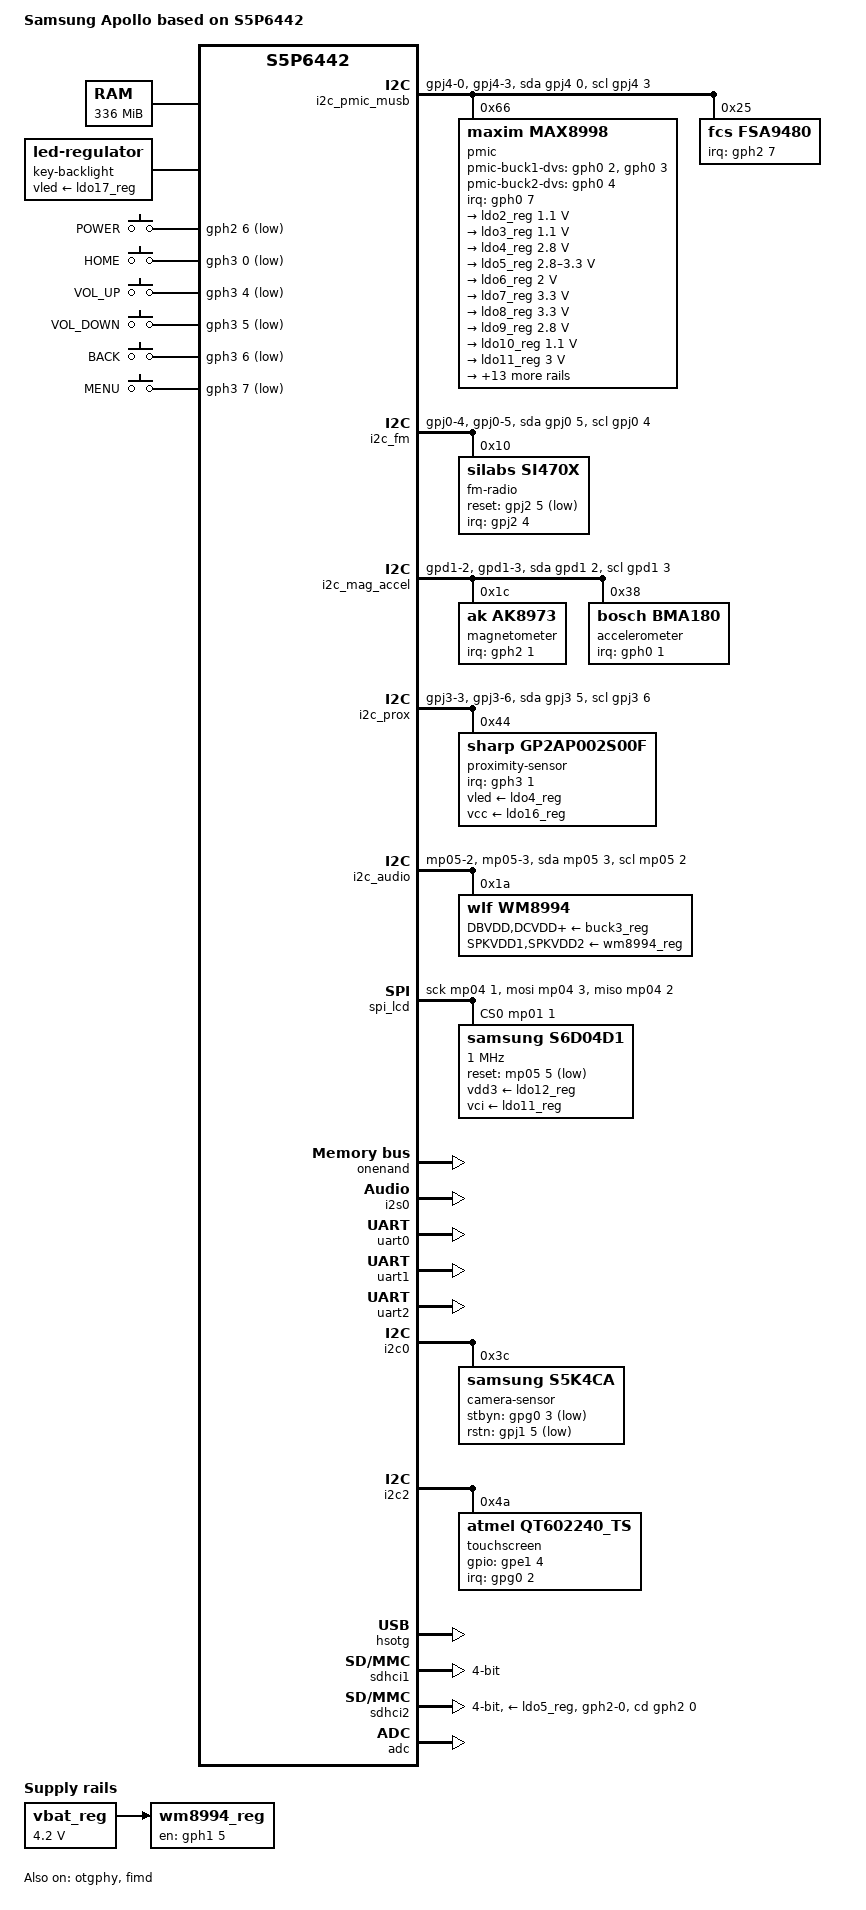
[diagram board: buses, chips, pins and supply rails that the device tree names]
/*
 * Samsung's S5P6442 SoC device tree source
 *
 * Samsung's S5P6442 SoC device nodes are listed in this file. S5P6442
 * based board files can include this file and provide values for board specfic
 * bindings.
 *
 * Note: This file does not include device nodes for all the controllers in
 * S5P6442 SoC. As device tree coverage for S5P6442 increases, additional
 * nodes can be added to this file.
 *
 * This program is free software; you can redistribute it and/or modify
 * it under the terms of the GNU General Public License version 2 as
 * published by the Free Software Foundation.
 */

/dts-v1/;
#include <dt-bindings/gpio/gpio.h>
#include <dt-bindings/input/input.h>
#include "s5p6442.dtsi"

/ {
	model = "Samsung Apollo based on S5P6442";
	compatible = "samsung,apollo", "samsung,s5p6442";

	aliases {
		i2c3 = &i2c_pmic_musb;
		i2c4 = &i2c_fm;
		i2c5 = &i2c_mag_accel;
		i2c6 = &i2c_prox;
		i2c7 = &i2c_audio;
	};

	chosen {
		bootargs = "console=ttySAC1,115200n8 console=tty1 root=/dev/mmcblk0p1 rw rootwait ignore_loglevel earlyprintk g_ether.dev_addr=02:01:02:03:04:05 g_ether.host_addr=06:07:08:09:0a:0b";
	};

	memory {
		device_type = "memory";
		reg = <0x20000000 0x10000000
			0x40000000 0x5000000>;
	};

	vbat_reg: vbat-regulator {
		compatible = "regulator-fixed";
		regulator-name = "V_BAT";
		regulator-min-microvolt = <4200000>;
		regulator-max-microvolt = <4200000>;
		regulator-always-on;
	};

	i2c_pmic_musb: i2c-3 {
		compatible = "i2c-gpio";
		gpios = /* SDA */ <&gpj4 0 0>,
			/* SCL */ <&gpj4 3 0>;
		i2c-gpio,delay-us = <2>;
		pinctrl-names = "default";
		pinctrl-0 = <&pmic_musb_i2c_bus>;
		#address-cells = <1>;
		#size-cells = <0>;

		pmic@66 {
			compatible = "maxim,max8998";
			reg = <0x66>;
			interrupt-parent = <&gph0>;
			interrupts = <7 0>;
			pinctrl-names = "default";
			pinctrl-0 = <&pmic_irq>;

			max8998,pmic-buck1-default-dvs-idx = <0>;
			max8998,pmic-buck1-dvs-gpios = <&gph0 2 0>, <&gph0 3 0>;
			max8998,pmic-buck1-dvs-voltage = <1200000>, <1200000>,
							<1200000>, <1200000>;

			max8998,pmic-buck2-default-dvs-idx = <0>;
			max8998,pmic-buck2-dvs-gpio = <&gph0 4 0>;
			max8998,pmic-buck2-dvs-voltage = <1200000>, <1200000>;

			regulators {
				ldo2_reg: LDO2 {
					regulator-name = "VALIVE_1.1V_6442";
					regulator-min-microvolt = <1100000>;
					regulator-max-microvolt = <1100000>;
					regulator-always-on;
				};

				ldo3_reg: LDO3 {
					regulator-name = "VUSB_1.1V_6442";
					regulator-min-microvolt = <1100000>;
					regulator-max-microvolt = <1100000>;
				};

				ldo4_reg: LDO4 {
					regulator-name = "VDD_PS_2.8V";
					regulator-min-microvolt = <2800000>;
					regulator-max-microvolt = <2800000>;
				};

				ldo5_reg: LDO5 {
					regulator-name = "VTF_2.8V";
					regulator-min-microvolt = <2800000>;
					regulator-max-microvolt = <3300000>;
				};

				ldo6_reg: LDO6 {
					regulator-name = "LDO6";
					regulator-min-microvolt = <2000000>;
					regulator-max-microvolt = <2000000>;
				};

				ldo7_reg: LDO7 {
					regulator-name = "VADC_3.3V_6442";
					regulator-min-microvolt = <3300000>;
					regulator-max-microvolt = <3300000>;
				};

				ldo8_reg: LDO8 {
					regulator-name = "VUSB_3.3V_6442";
					regulator-min-microvolt = <3300000>;
					regulator-max-microvolt = <3300000>;
				};

				ldo9_reg: LDO9 {
					regulator-name = "VCC_2.8V_PDA";
					regulator-min-microvolt = <2800000>;
					regulator-max-microvolt = <2800000>;
					regulator-always-on;
				};

				ldo10_reg: LDO10 {
					regulator-name = "VPLL_1.1V_6442";
					regulator-min-microvolt = <1100000>;
					regulator-max-microvolt = <1100000>;
					regulator-always-on;
				};

				ldo11_reg: LDO11 {
					regulator-name = "VLCD_3.0V";
					regulator-min-microvolt = <3000000>;
					regulator-max-microvolt = <3000000>;
					regulator-always-on;
				};

				ldo12_reg: LDO12 {
					regulator-name = "VLCD_1.8V";
					regulator-min-microvolt = <1800000>;
					regulator-max-microvolt = <1800000>;
					regulator-always-on;
				};

				ldo13_reg: LDO13 {
					regulator-name = "VTOUCH_2.8V";
					regulator-min-microvolt = <2800000>;
					regulator-max-microvolt = <2800000>;
				};

				ldo14_reg: LDO14 {
					regulator-name = "VTOUCH_3.0V";
					regulator-min-microvolt = <3000000>;
					regulator-max-microvolt = <3000000>;
				};

				ldo15_reg: LDO15 {
					regulator-name = "VPWM_3.3V";
					regulator-min-microvolt = <3300000>;
					regulator-max-microvolt = <3300000>;
					regulator-always-on;
				};

				ldo16_reg: LDO16 {
					regulator-name = "VDD_PS_3.0V";
					regulator-min-microvolt = <3000000>;
					regulator-max-microvolt = <3000000>;
				};

				ldo17_reg: LDO17 {
					regulator-name = "VKEYLED_3.3V";
					regulator-min-microvolt = <1600000>;
					regulator-max-microvolt = <3300000>;
					regulator-always-on;
				};

				buck1_reg: BUCK1 {
					regulator-name = "VARM_1.1V_6442";
					regulator-min-microvolt = <950000>;
					regulator-max-microvolt = <1350000>;
					regulator-always-on;
				};

				buck2_reg: BUCK2 {
					regulator-name = "VINT_1.1V_6442";
					regulator-min-microvolt = <1200000>;
					regulator-max-microvolt = <1200000>;
					regulator-always-on;
				};

				buck3_reg: BUCK3 {
					regulator-name = "VCC_1.8V_PDA";
					regulator-min-microvolt = <1800000>;
					regulator-max-microvolt = <1800000>;
					regulator-always-on;
				};

				buck4_reg: BUCK4 {
					regulator-name = "BUCK4";
					regulator-min-microvolt = <1200000>;
					regulator-max-microvolt = <1200000>;
				};

				vichg_reg: ENVICHG {
					regulator-name = "VICHG";
				};

				safeout1_reg: ESAFEOUT1 {
					regulator-name = "SAFEOUT1";
					regulator-always-on;
				};

				safeout2_reg: ESAFEOUT2 {
					regulator-name = "SAFEOUT2";
					regulator-boot-on;
				};
			};
		};

		fsa9480: muic@25 {
			compatible = "fcs,fsa9480";
			reg = <0x25>;
			interrupt-parent = <&gph2>;
			interrupts = <7 0>;
			pinctrl-names = "default";
			pinctrl-0 = <&muic_irq>;
		};
	};

	i2c_fm: i2c-4 {
		compatible = "i2c-gpio";
		gpios = /* SDA */ <&gpj0 5 0>,
			/* SCL */ <&gpj0 4 0>;
		i2c-gpio,delay-us = <2>;
		pinctrl-names = "default";
		pinctrl-0 = <&fm_i2c_bus>;
		#address-cells = <1>;
		#size-cells = <0>;

		fm-radio@10 {
			compatible = "silabs,si470x";
			reg = <0x10>;
			interrupt-parent = <&gpj2>;
			interrupts = <4 0>;
			reset-gpios = <&gpj2 5 GPIO_ACTIVE_LOW>;
			pinctrl-names = "default";
			pinctrl-0 = <&fm_irq>;
			// TODO
		};
	};

	i2c_mag_accel: i2c-5 {
		compatible = "i2c-gpio";
		gpios = /* SDA */ <&gpd1 2 0>,
			/* SCL */ <&gpd1 3 0>;
		i2c-gpio,delay-us = <2>;
		pinctrl-names = "default";
		pinctrl-0 = <&mag_accel_i2c_bus>;
		#address-cells = <1>;
		#size-cells = <0>;

		magnetometer@1c {
			compatible = "ak,ak8973";
			reg = <0x1c>;
			interrupt-parent = <&gph2>;
			interrupts = <1 0>;
			pinctrl-names = "default";
			pinctrl-0 = <&mag_irq>;
			// TODO
		};

		accelerometer@38 {
			compatible = "bosch,bma180";
			reg = <0x38>;
			interrupt-parent = <&gph0>;
			interrupts = <1 0>;
			pinctrl-names = "default";
			pinctrl-0 = <&accel_irq>;
			// TODO
		};

	};

	i2c_prox: i2c-6 {
		compatible = "i2c-gpio";
		gpios = /* SDA */ <&gpj3 5 0>,
			/* SCL */ <&gpj3 6 0>;
		i2c-gpio,delay-us = <2>;
		pinctrl-names = "default";
		pinctrl-0 = <&prox_i2c_bus>;
		#address-cells = <1>;
		#size-cells = <0>;

		proximity-sensor@44 {
			compatible = "sharp,gp2ap002s00f";
			reg = <0x44>;
			interrupt-parent = <&gph3>;
			interrupts = <1 0>;
			pinctrl-names = "default";
			pinctrl-0 = <&prox_irq>;
			vled-supply = <&ldo4_reg>;
			vcc-supply = <&ldo16_reg>;
			// TODO
		};
	};

	wm8994_reg: wm8994-regulator {
		compatible = "regulator-fixed";
		regulator-name = "WM8994_LDO";
		gpio = <&gph1 5 0>;
		enable-active-high;
		vin-supply = <&vbat_reg>;
	};

	i2c_audio: i2c-7 {
		compatible = "i2c-gpio";
		gpios = /* SDA */ <&mp05 3 0>,
			/* SCL */ <&mp05 2 0>;
		i2c-gpio,delay-us = <2>;
		pinctrl-names = "default";
		pinctrl-0 = <&audio_i2c_bus>;
		#address-cells = <1>;
		#size-cells = <0>;

		wm8994: audio-codec@1a {
			compatible = "wlf,wm8994";
			reg = <0x1a>;
			clock-names = "MCLK1";
			clocks = <&clocks MOUT_CLKOUT>;
			DBVDD-supply = <&buck3_reg>;
			DCVDD-supply = <&buck3_reg>;
			AVDD1-supply = <&buck3_reg>;
			AVDD2-supply = <&buck3_reg>;
			CPVDD-supply = <&buck3_reg>;
			SPKVDD1-supply = <&wm8994_reg>;
			SPKVDD2-supply = <&wm8994_reg>;
			gpio-controller;
			#gpio-cells = <2>;
			#sound-dai-cells = <1>;
		};
	};

	key-backlight {
		compatible = "led-regulator";
		vled-supply = <&ldo17_reg>;
		// TODO
	};

	gpio-keys {
		compatible = "gpio-keys";
		pinctrl-names = "default";
		pinctrl-0 = <&gpio_keys>;
		#address-cells = <1>;
		#size-cells = <0>;
		autorepeat;

		key@0 {
			reg = <0>;
			label = "POWER";
			gpios = <&gph2 6 GPIO_ACTIVE_LOW>;
			linux,code = <KEY_POWER>;
			debounce-interval = <20>;
		};

		key@1 {
			reg = <1>;
			label = "HOME";
			gpios = <&gph3 0 GPIO_ACTIVE_LOW>;
			linux,code = <KEY_HOME>;
			debounce-interval = <20>;
		};

		key@2 {
			reg = <2>;
			label = "VOL_UP";
			gpios = <&gph3 4 GPIO_ACTIVE_LOW>;
			linux,code = <KEY_VOLUMEUP>;
			debounce-interval = <20>;
		};

		key@3 {
			reg = <3>;
			label = "VOL_DOWN";
			gpios = <&gph3 5 GPIO_ACTIVE_LOW>;
			linux,code = <KEY_VOLUMEDOWN>;
			debounce-interval = <20>;
		};

		key@4 {
			reg = <4>;
			label = "BACK";
			gpios = <&gph3 6 GPIO_ACTIVE_LOW>;
			linux,code = <KEY_BACK>;
			debounce-interval = <20>;
		};

		key@5 {
			reg = <5>;
			label = "MENU";
			gpios = <&gph3 7 GPIO_ACTIVE_LOW>;
			linux,code = <KEY_MENU>;
			debounce-interval = <20>;
		};
	};

	sound {
		compatible = "simple-audio-card";
		simple-audio-card,format = "i2s";

		simple-audio-card,cpu {
			sound-dai = <&i2s0>;
		};

		simple-audio-card,codec {
			sound-dai = <&wm8994 0>;
			bitclock-master;
			frame-master;
		};
	};

	spi_lcd: spi-1 {
		compatible = "spi-gpio";
		#address-cells = <1>;
		#size-cells = <0>;

		gpio-sck = <&mp04 1 0>;
		gpio-miso = <&mp04 2 0>;
		gpio-mosi = <&mp04 3 0>;
		cs-gpios = <&mp01 1 0>;
		num-chipselects = <1>;

		s6d04d1: display@0 {
			compatible = "samsung,s6d04d1";
			reg = <0>;
			reset-gpios = <&mp05 5 1>;
			vdd3-supply = <&ldo12_reg>;
			vci-supply = <&ldo11_reg>;
			spi-max-frequency = <1000000>;
		};
	};
};

&xusbxti {
	clock-frequency = <12000000>;
};

&onenand {
	status = "okay";

	partition@1180000 {
		label = "UBI";
		reg = <0x1180000 0x1e380000>;
	};
};

&i2s0 {
	status = "okay";
};

&pinctrl0 {
	gpio_keys: gpio-keys {
		samsung,pins = "gph2-6", "gph3-0", "gph3-4", "gph3-5",
				"gph3-6", "gph3-7";
		samsung,pin-pud = <PIN_PULL_NONE>;
	};

	pmic_musb_i2c_bus: pmic-musb-i2c-bus {
		samsung,pins = "gpj4-0", "gpj4-3";
		samsung,pin-pud = <PIN_PULL_NONE>;
	};

	fm_i2c_bus: fm-musb-i2c-bus {
		samsung,pins = "gpj0-4", "gpj0-5";
		samsung,pin-pud = <PIN_PULL_NONE>;
	};

	mag_accel_i2c_bus: mag-accel-i2c-bus {
		samsung,pins = "gpd1-2", "gpd1-3";
		samsung,pin-pud = <PIN_PULL_NONE>;
	};

	prox_i2c_bus: prox-i2c-bus {
		samsung,pins = "gpj3-3", "gpj3-6";
		samsung,pin-pud = <PIN_PULL_NONE>;
	};

	audio_i2c_bus: audio-i2c-bus {
		samsung,pins = "mp05-2", "mp05-3";
		samsung,pin-pud = <PIN_PULL_NONE>;
	};

	pmic_irq: pmic-irq {
		samsung,pins = "gph0-7";
		samsung,pin-function = <0>;
		samsung,pin-pud = <PIN_PULL_NONE>;
	};

	fm_irq: fm-irq {
		samsung,pins = "gpj2-4";
		samsung,pin-function = <0>;
		samsung,pin-pud = <PIN_PULL_UP>;
	};

	mag_irq: mag-irq {
		samsung,pins = "gph2-1";
		samsung,pin-function = <0>;
		samsung,pin-pud = <PIN_PULL_NONE>;
	};

	accel_irq: accel-irq {
		samsung,pins = "gph0-1";
		samsung,pin-function = <0>;
		samsung,pin-pud = <PIN_PULL_NONE>;
	};

	prox_irq: prox-irq {
		samsung,pins = "gph3-1";
		samsung,pin-function = <0>;
		samsung,pin-pud = <PIN_PULL_NONE>;
	};

	muic_irq: muic-irq {
		samsung,pins = "gph2-7";
		samsung,pin-function = <0>;
		samsung,pin-pud = <PIN_PULL_NONE>;
	};

	tf_detect: tf-detect {
		samsung,pins = "gph2-0";
		samsung,pin-function = <0>;
		samsung,pin-pud = <PIN_PULL_NONE>;
	};

	ts_irq: ts-irq {
		samsung,pins = "gpg0-2";
		samsung,pin-function = <0>;
		samsung,pin-pud = <PIN_PULL_UP>;
	};
};

&pwm {
	samsung,pwm-outputs = <0>;
	pinctrl-names = "default";
	pinctrl-0 = <&pwm0_out>;
};

&uart0 {
	pinctrl-0 = <&uart0_data &uart0_fctl>;
	pinctrl-names = "default";
	status = "okay";
};

&uart1 {
	pinctrl-0 = <&uart1_data>;
	pinctrl-names = "default";
	status = "okay";
};

&uart2 {
	pinctrl-0 = <&uart2_data>;
	pinctrl-names = "default";
	status = "okay";
};

&i2c0 {
	samsung,i2c-sda-delay = <100>;
	samsung,i2c-max-bus-freq = <400000>;
	status = "okay";

	camera-sensor@3c {
		compatible = "samsung,s5k4ca";
		reg = <0x3c>;
		stbyn-gpios = <&gpg0 3 GPIO_ACTIVE_LOW>;
		rstn-gpios = <&gpj1 5 GPIO_ACTIVE_LOW>;
		// TODO
	};
};

&i2c2 {
	samsung,i2c-sda-delay = <100>;
	samsung,i2c-max-bus-freq = <400000>;
	status = "okay";

	touchscreen@4a {
		compatible = "atmel,qt602240_ts";
		reg = <0x4a>;
		interrupt-parent = <&gpg0>;
		interrupts = <2 0>;
		pinctrl-names = "default";
		pinctrl-0 = <&ts_irq>;
		gpios = <&gpe1 4 0>;
		// TODO
	};
};

&hsotg {
	vusb_a-supply = <&ldo3_reg>;
	vusb_d-supply = <&ldo8_reg>;
	extcon = <&fsa9480>;
	status = "okay";
};

&otgphy {
	status = "okay";
};

&sdhci1 {
	bus-width = <4>;
	pinctrl-0 = <&sd1_clk &sd1_cmd &sd1_bus1 &sd1_bus4>;
	pinctrl-names = "default";
	// TODO (WLAN)
};

&sdhci2 {
	bus-width = <4>;
	cd-gpios = <&gph2 0 GPIO_ACTIVE_LOW>;
	cd-inverted;
	vmmc-supply = <&ldo5_reg>;
	pinctrl-0 = <&sd2_clk &sd2_cmd &sd2_bus1 &sd2_bus4 &tf_detect>;
	pinctrl-names = "default";
	status = "okay";
};

&fimd {
	pinctrl-names = "default";
	pinctrl-0 = <&lcd_data24>;
	status = "okay";

	display-timings {
		native-mode = <&timing0>;

		timing0: timing@0 {
			/* 240x400@85Hz */
			clock-frequency = <10090520>;
			hactive = <240>;
			vactive = <400>;
			hfront-porch = <8>;
			hback-porch = <24>;
			hsync-len = <12>;
			vback-porch = <8>;
			vfront-porch = <8>;
			vsync-len = <2>;
			hsync-active = <1>;
			vsync-active = <1>;
			de-active = <1>;
			pixelclk-active = <1>;
		};
	};
};

&camera {
	// TODO (camera interface)
};

&adc {
	vdd-supply = <&ldo7_reg>;
	status = "okay";
};
